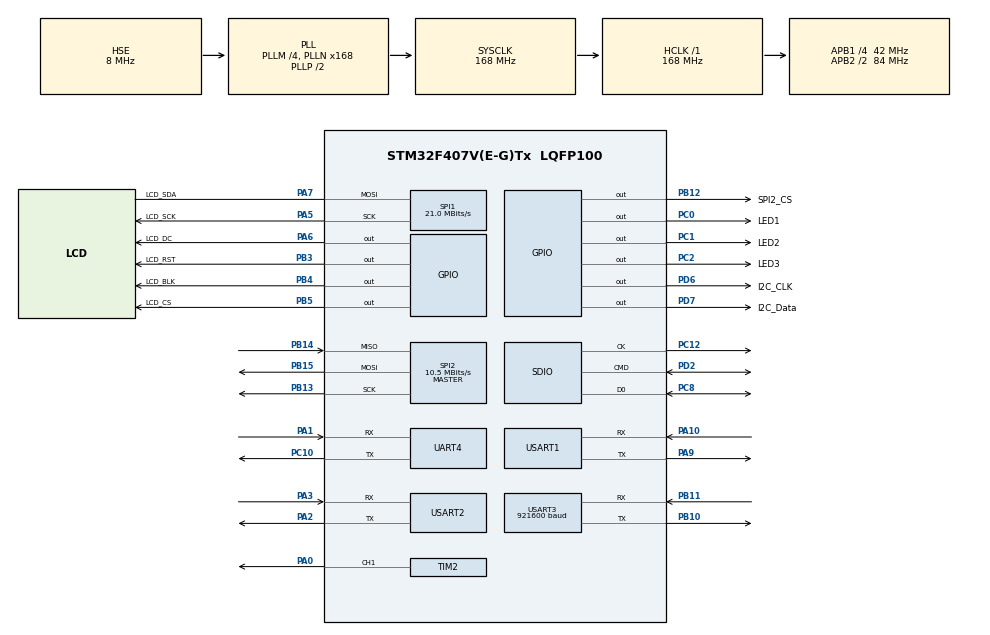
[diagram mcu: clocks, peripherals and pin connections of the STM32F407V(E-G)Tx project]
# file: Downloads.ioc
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Dma.Request0=USART3_TX
Dma.USART3_TX.0.Direction=DMA_MEMORY_TO_PERIPH
Dma.USART3_TX.0.FIFOMode=DMA_FIFOMODE_DISABLE
Dma.USART3_TX.0.Instance=DMA1_Stream3
Dma.USART3_TX.0.MemDataAlignment=DMA_MDATAALIGN_BYTE
Dma.USART3_TX.0.MemInc=DMA_MINC_ENABLE
Dma.USART3_TX.0.Mode=DMA_NORMAL
Dma.USART3_TX.0.PeriphDataAlignment=DMA_PDATAALIGN_BYTE
Dma.USART3_TX.0.PeriphInc=DMA_PINC_DISABLE
Dma.USART3_TX.0.Priority=DMA_PRIORITY_VERY_HIGH
Mcu.Family=STM32F4
Mcu.Name=STM32F407V(E-G)Tx
Mcu.Package=LQFP100
NVIC.DMA1_Stream3_IRQn=true\:0\:0\:false\:false\:true\:false\:true\:true
NVIC.PriorityGroup=NVIC_PRIORITYGROUP_4
NVIC.SDIO_IRQn=true\:3\:0\:true\:false\:true\:true\:true\:true
NVIC.TIM8_BRK_TIM12_IRQn=true\:0\:0\:false\:false\:true\:true\:true\:true
NVIC.USART1_IRQn=true\:3\:0\:true\:false\:true\:true\:true\:true
NVIC.USART2_IRQn=true\:1\:0\:true\:false\:true\:true\:true\:true
NVIC.USART3_IRQn=true\:0\:0\:false\:false\:true\:true\:true\:true
PA0-WKUP.Signal=S_TIM2_CH1_ETR
PA1.Mode=Asynchronous
PA1.Signal=UART4_RX
PA10.Mode=Asynchronous
PA10.Signal=USART1_RX
PA13.Mode=Serial_Wire
PA13.Signal=SYS_JTMS-SWDIO
PA14.Mode=Serial_Wire
PA14.Signal=SYS_JTCK-SWCLK
PA2.Mode=Asynchronous
PA2.Signal=USART2_TX
PA3.Mode=Asynchronous
PA3.Signal=USART2_RX
PA5.GPIO_Label=LCD_SCK
PA5.Mode=Simplex_Bidirectional_Master
PA5.Signal=SPI1_SCK
PA6.GPIO_Label=LCD_DC
PA6.Signal=GPIO_Output
PA7.GPIO_Label=LCD_SDA
PA7.Mode=Simplex_Bidirectional_Master
PA7.Signal=SPI1_MOSI
PA9.Mode=Asynchronous
PA9.Signal=USART1_TX
PB10.Mode=Asynchronous
PB10.Signal=USART3_TX
PB11.Mode=Asynchronous
PB11.Signal=USART3_RX
PB12.GPIO_Label=SPI2_CS
PB12.Signal=GPIO_Output
PB13.Mode=Full_Duplex_Master
PB13.Signal=SPI2_SCK
PB14.Mode=Full_Duplex_Master
PB14.Signal=SPI2_MISO
PB15.Mode=Full_Duplex_Master
PB15.Signal=SPI2_MOSI
PB3.GPIO_Label=LCD_RST
PB3.Signal=GPIO_Output
PB4.GPIO_Label=LCD_BLK
PB4.Signal=GPIO_Output
PB5.GPIO_Label=LCD_CS
PB5.Signal=GPIO_Output
PC0.GPIO_Label=LED1
PC0.PinState=GPIO_PIN_SET
PC0.Signal=GPIO_Output
PC1.GPIO_Label=LED2
PC1.PinState=GPIO_PIN_SET
PC1.Signal=GPIO_Output
PC10.Mode=Asynchronous
PC10.Signal=UART4_TX
PC12.Mode=SD_1_bit
PC12.Signal=SDIO_CK
PC2.GPIO_Label=LED3
PC2.PinState=GPIO_PIN_SET
PC2.Signal=GPIO_Output
PC8.GPIO_PuPd=GPIO_PULLUP
PC8.Mode=SD_1_bit
PC8.Signal=SDIO_D0
PD2.GPIO_PuPd=GPIO_PULLUP
PD2.Mode=SD_1_bit
PD2.Signal=SDIO_CMD
PD6.GPIO_Label=I2C_CLK
PD6.GPIO_ModeDefaultOutputPP=GPIO_MODE_OUTPUT_OD
PD6.GPIO_PuPd=GPIO_NOPULL
PD6.GPIO_Speed=GPIO_SPEED_FREQ_VERY_HIGH
PD6.Signal=GPIO_Output
PD7.GPIO_Label=I2C_Data
PD7.GPIO_ModeDefaultOutputPP=GPIO_MODE_OUTPUT_OD
PD7.GPIO_PuPd=GPIO_NOPULL
PD7.GPIO_Speed=GPIO_SPEED_FREQ_VERY_HIGH
PD7.PinState=GPIO_PIN_RESET
PD7.Signal=GPIO_Output
PH0-OSC_IN.Mode=HSE-External-Oscillator
PH0-OSC_IN.Signal=RCC_OSC_IN
PH1-OSC_OUT.Mode=HSE-External-Oscillator
PH1-OSC_OUT.Signal=RCC_OSC_OUT
ProjectManager.HeapSize=0x400
ProjectManager.StackSize=0x1000
ProjectManager.TargetToolchain=MDK-ARM V5.32
RCC.48MHZClocksFreq_Value=48000000
RCC.AHBFreq_Value=168000000
RCC.APB1CLKDivider=RCC_HCLK_DIV4
RCC.APB1Freq_Value=42000000
RCC.APB1TimFreq_Value=84000000
RCC.APB2CLKDivider=RCC_HCLK_DIV2
RCC.APB2Freq_Value=84000000
RCC.APB2TimFreq_Value=168000000
RCC.CortexFreq_Value=168000000
RCC.HCLKFreq_Value=168000000
RCC.HSE_VALUE=8000000
RCC.HSI_VALUE=16000000
RCC.LSE_VALUE=32768
RCC.PLLM=4
RCC.PLLN=168
RCC.PLLQ=7
RCC.PLLSourceVirtual=RCC_PLLSOURCE_HSE
RCC.SYSCLKFreq_VALUE=168000000
RCC.SYSCLKSource=RCC_SYSCLKSOURCE_PLLCLK
RCC.VCOOutputFreq_Value=336000000
SDIO.ClockDiv=0
SH.S_TIM2_CH1_ETR.0=TIM2_CH1,PWM Generation1 CH1
SPI1.BaudRatePrescaler=SPI_BAUDRATEPRESCALER_4
SPI1.CLKPhase=SPI_PHASE_2EDGE
SPI1.CLKPolarity=SPI_POLARITY_HIGH
SPI1.CalculateBaudRate=21.0 MBits/s
SPI1.Direction=SPI_DIRECTION_1LINE
SPI1.Mode=SPI_MODE_MASTER
SPI1.VirtualType=VM_MASTER
SPI2.BaudRatePrescaler=SPI_BAUDRATEPRESCALER_4
SPI2.CalculateBaudRate=10.5 MBits/s
SPI2.Direction=SPI_DIRECTION_2LINES
SPI2.Mode=SPI_MODE_MASTER
SPI2.VirtualType=VM_MASTER
TIM12.Period=1999
TIM12.Prescaler=83
TIM2.Channel-PWM\ Generation1\ CH1=TIM_CHANNEL_1
UART4.VirtualMode=Asynchronous
USART1.VirtualMode=VM_ASYNC
USART2.VirtualMode=VM_ASYNC
USART3.BaudRate=921600
USART3.VirtualMode=VM_ASYNC
VP_TIM12_VS_ClockSourceINT.Mode=Internal
board=custom

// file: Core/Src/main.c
/* USER CODE BEGIN Header */
/**
 ******************************************************************************
 * @file           : main.c
 * @brief          : Main program body
 ******************************************************************************
 * @attention
 *
 * Copyright (c) 2025 STMicroelectronics.
 * All rights reserved.
 *
 * This software is licensed under terms that can be found in the LICENSE file
 * in the root directory of this software component.
 * If no LICENSE file comes with this software, it is provided AS-IS.
 *
 ******************************************************************************
 */
/* USER CODE END Header */
#include "main.h"
#include "dma.h"
#include "sdio.h"
#include "spi.h"
#include "tim.h"
#include "usart.h"
#include "gpio.h"

/* USER CODE BEGIN Includes */
#include <stdlib.h>
#include "my_menu.h"
#include "delay.h"
#include "usmart.h"
#include "Emm_V5.h"
#include "test.h"
#include "control.h"
#include "car_config.h"
#include "gray_detection.h"
#include "lfs_port.h"
/* USER CODE END Includes */

/* USER CODE BEGIN PV */
uint16_t line_buffer[320];
uint8_t angle = 0;

lcd_io lcd_io_desc = {
    .spi = &hspi1,
    .rst = {LCD_RST_GPIO_Port, LCD_RST_Pin, 0},
    .bl = {LCD_BLK_GPIO_Port, LCD_BLK_Pin, 0},
    .cs = {LCD_CS_GPIO_Port, LCD_CS_Pin, 0},
    .dc = {LCD_DC_GPIO_Port, LCD_DC_Pin, 0},
    //.te  = { /* TE */ }
};

lcd lcd_desc = {
    .io = &lcd_io_desc,
    .line_buffer = line_buffer,
};
/* USER CODE END PV */

void SystemClock_Config(void);
/* USER CODE BEGIN PFP */
void Before_Main(void);
/* USER CODE END PFP */

int main(void)
{

  /* MCU Configuration--------------------------------------------------------*/

  /* Reset of all peripherals, Initializes the Flash interface and the Systick. */
  HAL_Init();

  /* Configure the system clock */
  SystemClock_Config();

  /* Initialize all configured peripherals */
  MX_GPIO_Init();
  MX_DMA_Init();
  MX_SDIO_SD_Init();
  MX_SPI1_Init();
  MX_TIM2_Init();
  MX_SPI2_Init();
  MX_USART3_UART_Init();
  MX_USART1_UART_Init();
  MX_TIM12_Init();
  MX_USART2_UART_Init();
  MX_UART4_Init();
  /* USER CODE BEGIN 2 */
  HAL_UART_Receive_IT(&huart1, (uint8_t *)g_rx_buffer, RXBUFFERSIZE);

  delay_init(168);
  usmart_dev.init(84);

  lcd_init_dev(&lcd_desc, LCD_2_00_INCH, LCD_ROTATE_270);
  lcd_print(&lcd_desc, 0, 10, "> X Pulse");
  lcd_print(&lcd_desc, 0, 30, "> STM32 lcd demo");
  lcd_print(&lcd_desc, 0, 50, "> LCD 2.0 inch 320x240");
  lcd_print(&lcd_desc, 0, 70, "> 2024/9/1");
  led_off();
  lcd_set_font(&lcd_desc, FONT_3216, YELLOW, BLACK);
  Menu_Init();
  cotMenu_Task();
  initialize_and_test_LittleFS();
  Before_Main();

  HAL_TIM_Base_Start_IT(&htim12);
  visual_reception_init();

#if TEST_BEFORE_MAIN == 1
  before_main_test();
#endif

  /* USER CODE END 2 */

  /* Infinite loop */
  /* USER CODE BEGIN WHILE */
  while (1)
  {
    // Lcd_MenuTask();
    // visual_process_command();
    motor_speed_task_handler();
    grey_sensor_Read();
#if TEST_IN_MAIN == 1
    main_test();
#endif
    /* USER CODE END WHILE */

  }
}

void SystemClock_Config(void)
{
  RCC_OscInitTypeDef RCC_OscInitStruct = {0};
  RCC_ClkInitTypeDef RCC_ClkInitStruct = {0};

  /** Configure the main internal regulator output voltage
   */
  __HAL_RCC_PWR_CLK_ENABLE();
  __HAL_PWR_VOLTAGESCALING_CONFIG(PWR_REGULATOR_VOLTAGE_SCALE1);

  /** Initializes the RCC Oscillators according to the specified parameters
   * in the RCC_OscInitTypeDef structure.
   */
  RCC_OscInitStruct.OscillatorType = RCC_OSCILLATORTYPE_HSE;
  RCC_OscInitStruct.HSEState = RCC_HSE_ON;
  RCC_OscInitStruct.PLL.PLLState = RCC_PLL_ON;
  RCC_OscInitStruct.PLL.PLLSource = RCC_PLLSOURCE_HSE;
  RCC_OscInitStruct.PLL.PLLM = 4;
  RCC_OscInitStruct.PLL.PLLN = 168;
  RCC_OscInitStruct.PLL.PLLP = RCC_PLLP_DIV2;
  RCC_OscInitStruct.PLL.PLLQ = 7;
  if (HAL_RCC_OscConfig(&RCC_OscInitStruct) != HAL_OK)
  {
    Error_Handler();
  }

  /** Initializes the CPU, AHB and APB buses clocks
   */
  RCC_ClkInitStruct.ClockType = RCC_CLOCKTYPE_HCLK | RCC_CLOCKTYPE_SYSCLK | RCC_CLOCKTYPE_PCLK1 | RCC_CLOCKTYPE_PCLK2;
  RCC_ClkInitStruct.SYSCLKSource = RCC_SYSCLKSOURCE_PLLCLK;
  RCC_ClkInitStruct.AHBCLKDivider = RCC_SYSCLK_DIV1;
  RCC_ClkInitStruct.APB1CLKDivider = RCC_HCLK_DIV4;
  RCC_ClkInitStruct.APB2CLKDivider = RCC_HCLK_DIV2;

  if (HAL_RCC_ClockConfig(&RCC_ClkInitStruct, FLASH_LATENCY_5) != HAL_OK)
  {
    Error_Handler();
  }
}

/* USER CODE BEGIN 4 */

// 添加app_main函数
void Before_Main(void)
{
  printf("App main started\r\n");
  all_leds_off();
  HAL_Delay(500);
  led1_on();
  HAL_Delay(500);
  led1_off();
  led2_on();
  HAL_Delay(500);
  led2_off();
  led3_on();
  HAL_Delay(500);
  led3_off();
}
/* USER CODE END 4 */

void Error_Handler(void)
{
  __disable_irq();
  while (1)
  {
  }
}
